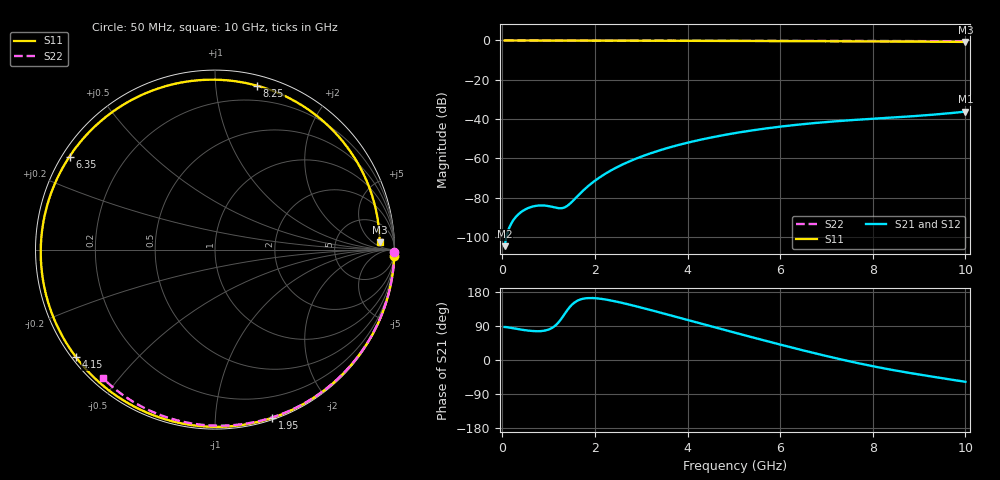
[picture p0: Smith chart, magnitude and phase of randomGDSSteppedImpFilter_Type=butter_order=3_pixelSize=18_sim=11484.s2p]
! freq	dB(S11)	phase(S11)	dB(S12)	phase(S12)
!  dB(S21)	phase(S21)	dB(S22)	phase(S22)
!S-par simulation data
#  GHz  S  DB  R 50
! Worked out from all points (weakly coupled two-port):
!   200 points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, 50 MHz to 10 GHz, reference 50 ohm
!   highest |S21| = -36.21 dB at 10 GHz (marker M1); lowest = -104.6 dB at 50 MHz (marker M2)
!   lowest |S11| = -0.7 dB at 10 GHz (marker M3), VSWR 23.53, Z = 919 + j486 ohm
!   |S11| at or under -10 dB: nowhere
!   |S22| runs from -0.4 to 0.0 dB; largest |S21 - S12| = 0
!   S11 on the Smith chart (normalised r, x): 50 MHz: 2, -60; 1.95 GHz: 0.01, -1.40; 4.15 GHz: 0.01, -0.34; 6.35 GHz: 0.02, +0.29; 8.25 GHz: 0.08, +1.29; 10 GHz: 18, +10
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0.05  -0.01 -1.9  -104.64 87.1  -104.64 87.1  -0.00 -0.8
0.75  -0.03 -28.2  -84.05 76.0  -84.05 76.0  -0.01 -11.3
1.55  -0.07 -57.3  -80.98 150.9  -80.98 150.9  -0.03 -23.2
1.6  -0.07 -59.0  -79.76 155.0  -79.76 155.0  -0.03 -23.9
1.75  -0.08 -64.3  -76.27 161.8  -76.27 161.8  -0.03 -26.1
1.95  -0.09 -71.2  -72.25 163.5  -72.25 163.5  -0.04 -29.0
2.55  -0.11 -91.5  -63.63 151.8  -63.63 151.8  -0.05 -37.7
3.4  -0.15 -118.9  -55.89 125.5  -55.89 125.5  -0.07 -49.7
4.15  -0.18 -142.3  -51.18 100.8  -51.18 100.8  -0.08 -60.0
4.6  -0.21 -156.2  -48.94 85.9  -48.94 85.9  -0.10 -66.1
5.05  -0.24 -170.2  -47.03 71.2  -47.03 71.2  -0.11 -72.0
5.7  -0.28 169.1  -44.75 50.2  -44.75 50.2  -0.13 -80.4
6.35  -0.34 147.4  -42.93 29.9  -42.93 29.9  -0.16 -88.5
6.7  -0.37 135.2  -42.11 19.3  -42.11 19.3  -0.18 -92.8
7.5  -0.44 105.6  -40.59 -3.5  -40.59 -3.5  -0.23 -102.4
7.9  -0.48 89.8  -39.97 -13.9  -39.97 -13.9  -0.25 -107.1
8.25  -0.51 75.6  -39.46 -22.3  -39.46 -22.3  -0.28 -111.2
8.35  -0.52 71.5  -39.32 -24.6  -39.32 -24.6  -0.29 -112.3
8.8  -0.57 52.7  -38.64 -34.3  -38.64 -34.3  -0.32 -117.5
9.25  -0.62 33.7  -37.85 -43.2  -37.85 -43.2  -0.37 -122.6
9.65  -0.68 16.9  -37.03 -50.9  -37.03 -50.9  -0.41 -127.1
10  -0.74 2.6  -36.21 -57.6  -36.21 -57.6  -0.44 -131.1
